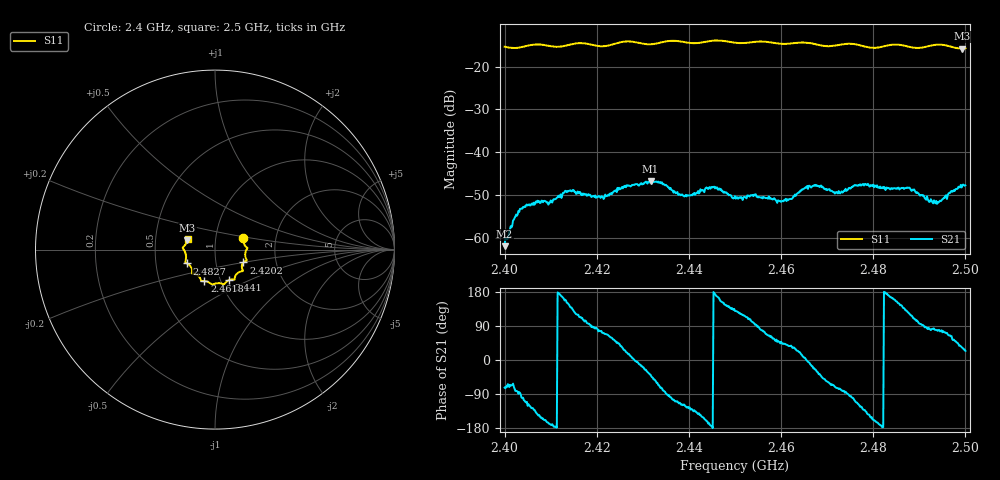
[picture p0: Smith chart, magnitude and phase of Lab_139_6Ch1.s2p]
# Hz S RI R 50
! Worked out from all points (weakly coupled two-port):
!   601 points, 2.4 GHz to 2.5 GHz, reference 50 ohm
!   highest |S21| = -46.69 dB at 2.4317 GHz (marker M1); lowest = -61.9 dB at 2.4 GHz (marker M2)
!   lowest |S11| = -15.8 dB at 2.4993 GHz (marker M3), VSWR 1.39, Z = 36.5 + j3.83 ohm
!   |S11| at or under -10 dB: start of sweep to end of sweep
!   S12 and S22 are empty: the file has one direction only
!   S11 on the Smith chart (normalised r, x): 2.4 GHz: 1.36, +0.18; 2.4202 GHz: 1.36, -0.20; 2.441 GHz: 1.10, -0.39; 2.4618 GHz: 0.84, -0.30; 2.4827 GHz: 0.72, -0.12; 2.5 GHz: 0.73, +0.09
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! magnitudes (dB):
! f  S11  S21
! 2.4 GHz  -15.4  -61.9
! 2.4038 GHz  -15.4  -53.1
! 2.4098 GHz  -15.2  -51.7
! 2.4137 GHz  -15.0  -49.0
! 2.4167 GHz  -14.5  -50.0
! 2.4202 GHz  -15.2  -50.4
! 2.4317 GHz  -14.8  -46.7
! 2.4333 GHz  -14.6  -46.8
! 2.4382 GHz  -14.1  -50.0
! 2.441 GHz  -14.6  -49.8
! 2.4453 GHz  -14.0  -48.0
! 2.45 GHz  -14.4  -50.2
! 2.4618 GHz  -14.6  -50.9
! 2.4667 GHz  -14.6  -48.0
! 2.4718 GHz  -15.1  -49.3
! 2.4773 GHz  -15.1  -47.7
! 2.4827 GHz  -15.2  -48.8
! 2.4833 GHz  -15.0  -48.3
! 2.4875 GHz  -15.3  -48.3
! 2.4938 GHz  -14.9  -52.0
! 2.4993 GHz  -15.8  -47.7
! 2.5 GHz  -15.7  -47.7
